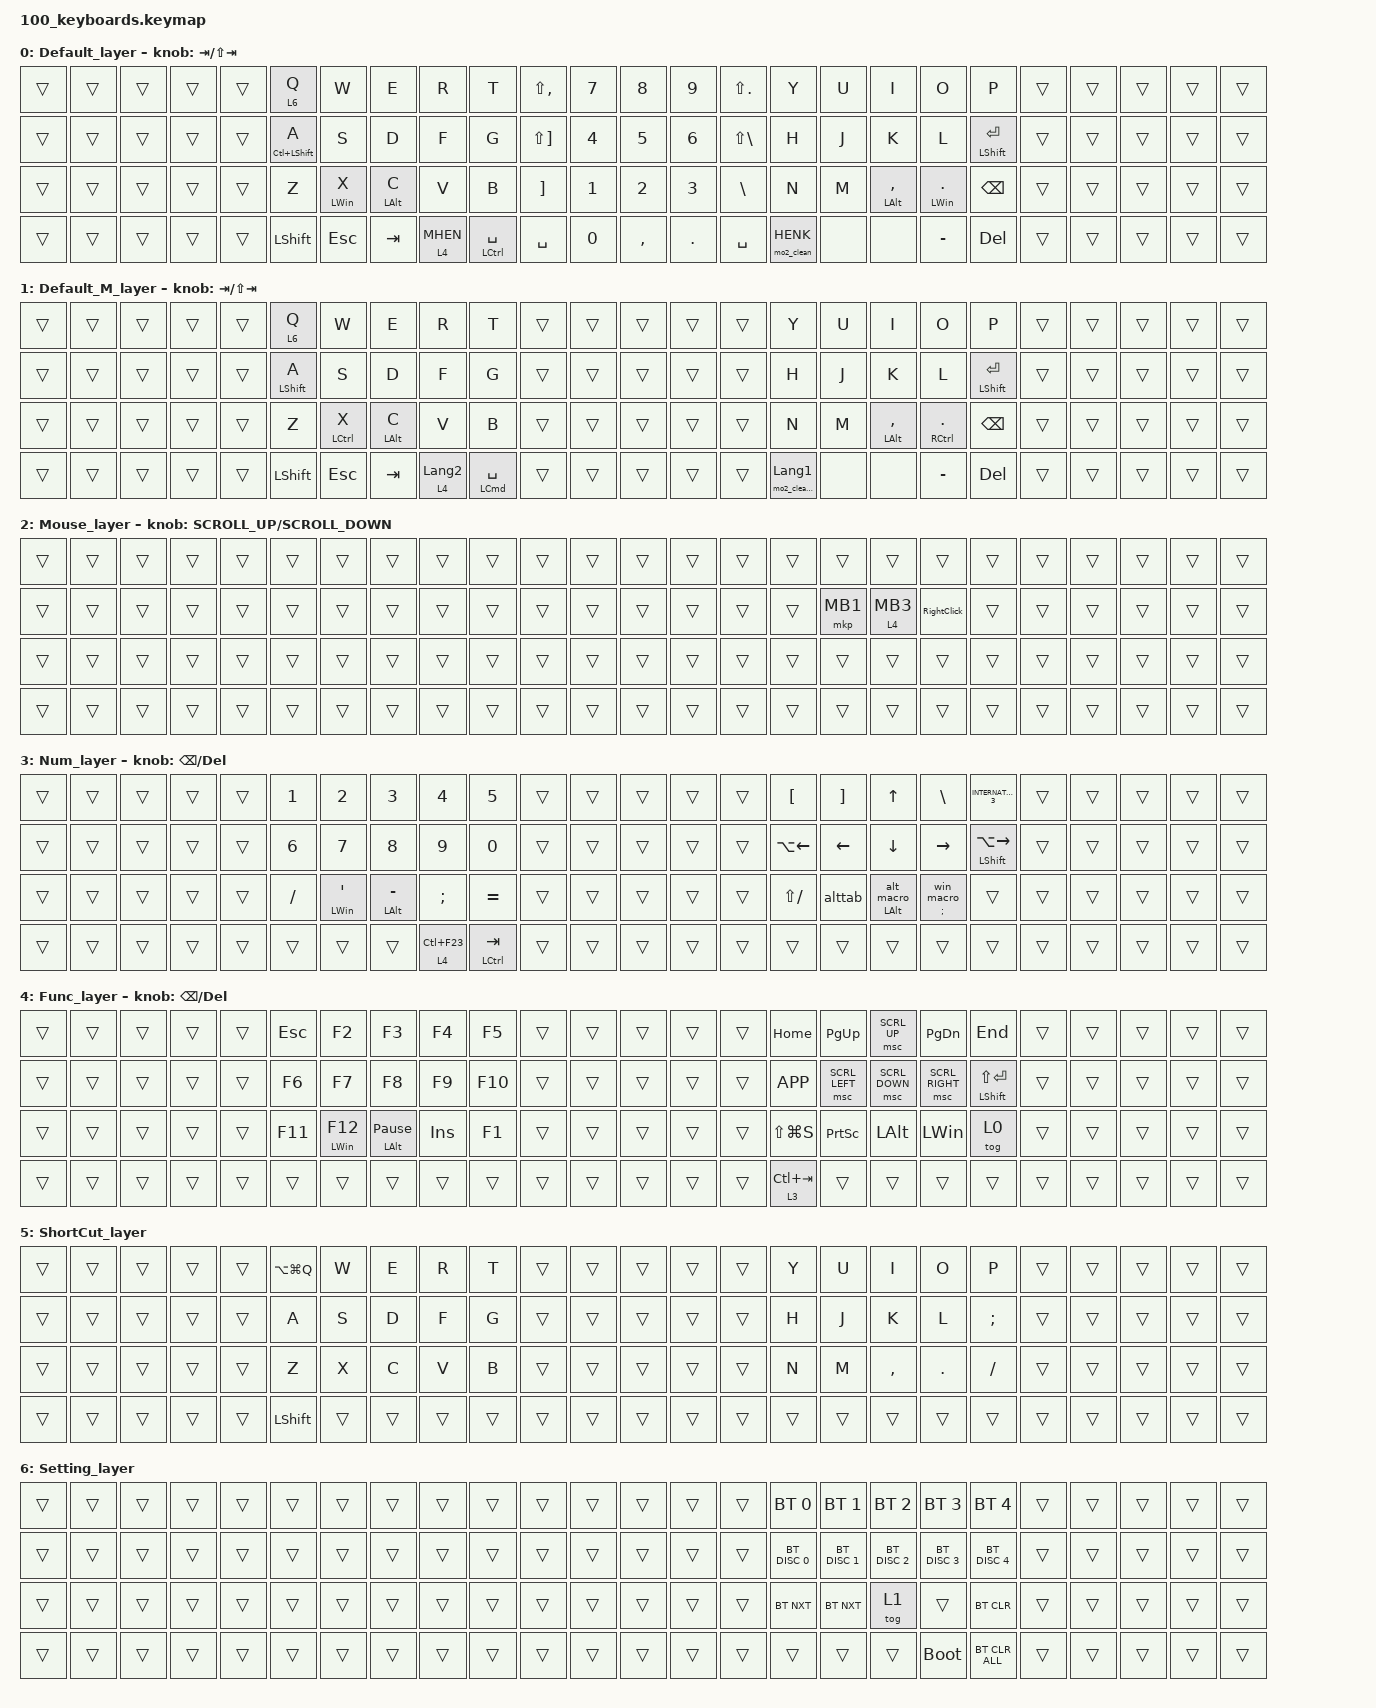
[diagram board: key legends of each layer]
#include <dt-bindings/zmk/input_transform.h>
#include <input/processors.dtsi> /* ★ これがすべての魔法の鍵でした！！！ */
#include <behaviors.dtsi>
#include <dt-bindings/zmk/bt.h>
#include <dt-bindings/zmk/keys.h>
#include <dt-bindings/zmk/pointing.h>

// マウス移動中のオートレイヤー（Jなどの入力を防ぐ）

&zip_temp_layer {
    excluded-positions = <
        41 // J:Lbutton (Central 16列目)
        42 // K:Mbutton - Scroll Layer (Central 17列目)
        43 // L:Rbutton (Central 18列目)
        44 // Enter (Central 19列目)
        80 // Shift (Peri_2 5列目)
        84 // Space-Lctrl (Peri_2 9列目)
    >;

    require-prior-idle-ms = <200>;
};

&mkp_input_listener { input-processors = <&zip_temp_layer 2 100000>; };

&trackball_listener {
    input-processors = <
        &zip_xy_transform (INPUT_TRANSFORM_X_INVERT | INPUT_TRANSFORM_Y_INVERT)
        &zip_temp_layer 2 100000
    >;

    scroller {
        layers = <4>;
        input-processors = <
            &zip_xy_transform (INPUT_TRANSFORM_X_INVERT)
            &zip_xy_to_scroll_mapper
            &zip_scroll_scaler 1 4
        >;
    };
};

/ {
    conditional_layers {
        compatible = "zmk,conditional-layers";

        FunctionWin {
            if-layers = <3 4>;
            then-layer = <5>;
        };
    };

    macros {
        kp_exitAML: kp_exit_AML {
            compatible = "zmk,behavior-macro-one-param";
            wait-ms = <0>;
            tap-ms = <0>;
            #binding-cells = <1>;
            bindings = <&macro_param_1to1 &kp MACRO_PLACEHOLDER &tog_off 0>;
        };

        mo2_clean: mo2_clean {
            compatible = "zmk,behavior-macro";
            #binding-cells = <0>;
            bindings =
                <&macro_press>,
                <&mo 3>,
                <&macro_pause_for_release>,
                <&macro_release>,
                <&mo 3 &kp LWIN &kp LALT>,
                <&macro_tap>,
                <&to 0>;
        };

        alttab: alttab {
            compatible = "zmk,behavior-macro";
            #binding-cells = <0>;
            bindings =
                <&macro_release>,
                <&kp LWIN>,
                <&macro_press>,
                <&kp LALT>,
                <&macro_tap>,
                <&kp TAB>;
        };

        win_macro: win_macro {
            compatible = "zmk,behavior-macro";
            #binding-cells = <0>;
            bindings = <&macro_release>, <&kp LALT>, <&macro_press>, <&kp LWIN>;
        };

        alt_macro: alt_macro {
            compatible = "zmk,behavior-macro";
            #binding-cells = <0>;
            bindings = <&macro_release>, <&kp LWIN>, <&macro_press>, <&kp LALT>;
        };

        mo2_clean_m: mo2_clean_m {
            compatible = "zmk,behavior-macro";
            #binding-cells = <0>;
            bindings =
                <&macro_press>,
                <&mo 3>,
                <&macro_pause_for_release>,
                <&macro_release>,
                <&mo 3 &kp LWIN &kp LALT>,
                <&macro_tap>,
                <&to 0>;
        };

        MHEN: MHEN {
            compatible = "zmk,behavior-macro";
            #binding-cells = <0>;
            bindings = <&kp LANGUAGE_2 &kp INT_MUHENKAN>;
            label = "MHEN";
        };

        HENK: HENK {
            compatible = "zmk,behavior-macro";
            #binding-cells = <0>;
            bindings = <&kp LANGUAGE_1 &kp INT_HENKAN>;
            label = "HENK";
        };
    };

    behaviors {
        lm: lt_with_mouse {
            compatible = "zmk,behavior-hold-tap";
            label = "LAYER_TAP_MOUSE";
            bindings = <&mo>, <&mkp>;

            #binding-cells = <2>;
            tapping-term-ms = <200>;
        };

        hm: homerow_mod {
            compatible = "zmk,behavior-hold-tap";
            label = "HM";
            bindings = <&kp>, <&kp>;

            #binding-cells = <2>;
            tapping-term-ms = <200>;
            quick-tap-ms = <200>;
            flavor = "tap-preferred";
            require-prior-idle-ms = <150>;
        };

        mt_exit_AML_on_tap: mt_exit_AML_on_tap {
            compatible = "zmk,behavior-hold-tap";
            label = "MT_exit_AML_ON_TAP";
            bindings = <&kp>, <&kp_exitAML>;

            #binding-cells = <2>;
            tapping-term-ms = <200>;
            flavor = "balanced";
            quick-tap-ms = <200>;
        };

        lt_clean: lt_clean {
            compatible = "zmk,behavior-hold-tap";
            label = "LT_CLEAN";
            bindings = <&mo2_clean>, <&kp>;

            #binding-cells = <2>;
            tapping-term-ms = <200>;
            flavor = "tap-preferred";
        };

        lt_clean_m: lt_clean_m {
            compatible = "zmk,behavior-hold-tap";
            label = "LT_CLEAN_M";
            bindings = <&mo2_clean_m>, <&kp>;

            #binding-cells = <2>;
            tapping-term-ms = <200>;
            flavor = "tap-preferred";
        };

        RightClick: Right_Click {
            compatible = "zmk,behavior-mod-morph";
            label = "RIGHTCLICK";
            bindings = <&mkp MB2>, <&none>;

            #binding-cells = <0>;
            mods = <(MOD_LCTL|MOD_LSFT)>;
            keep-mods = <(MOD_LCTL|MOD_LSFT)>;
        };

        Mwin: M_win {
            compatible = "zmk,behavior-hold-tap";
            label = "MWIN";
            bindings = <&kp>, <&win_macro>;

            #binding-cells = <2>;
            tapping-term-ms = <200>;
        };

        Malt: M_alt {
            compatible = "zmk,behavior-hold-tap";
            label = "MALT";
            bindings = <&kp>, <&alt_macro>;

            #binding-cells = <2>;
            tapping-term-ms = <200>;
        };

        tog_off: toggle_layer_off_only {
            compatible = "zmk,behavior-toggle-layer";
            #binding-cells = <1>;
            display-name = "Toggle Layer Off";
            toggle-mode = "off";
        };

        MHEN_LT: MHEN_LT {
            compatible = "zmk,behavior-hold-tap";
            label = "MHEN_LT";
            bindings = <&mo>, <&MHEN>;

            #binding-cells = <2>;
            tapping-term-ms = <200>;
        };

        HENK_LT: HENK_LT {
            compatible = "zmk,behavior-hold-tap";
            label = "HENK_LT";
            bindings = <&mo2_clean>, <&HENK>;

            #binding-cells = <2>;
            tapping-term-ms = <200>;
        };
    };

    keymap {
        compatible = "zmk,keymap";

        Default_layer {
            bindings = <
&trans  &trans  &trans  &trans  &trans  &lt 6 Q           &kp W           &kp E           &kp R         &kp T            &kp LS(COMMA)  &kp N7  &kp N8     &kp N9   &kp LS(DOT)    &kp Y         &kp U  &kp I           &kp O                &kp P                             &trans  &trans  &trans  &trans  &trans
&trans  &trans  &trans  &trans  &trans  &hm LC(LSHIFT) A  &kp S           &kp D           &kp F         &kp G            &kp LS(RBKT)   &kp N4  &kp N5     &kp N6   &kp LS(BSLH)   &kp H         &kp J  &kp K           &kp L                &mt_exit_AML_on_tap LSHIFT ENTER  &trans  &trans  &trans  &trans  &trans
&trans  &trans  &trans  &trans  &trans  &kp Z             &hm LEFT_WIN X  &hm LEFT_ALT C  &kp V         &kp B            &kp RBKT       &kp N1  &kp N2     &kp N3   &kp BACKSLASH  &kp N         &kp M  &hm LALT COMMA  &hm LEFT_WIN PERIOD  &kp BACKSPACE                     &trans  &trans  &trans  &trans  &trans
&trans  &trans  &trans  &trans  &trans  &kp LSHFT         &kp ESCAPE      &kp TAB         &MHEN_LT 4 0  &mt LCTRL SPACE  &kp SPACE      &kp N0  &kp COMMA  &kp DOT  &kp SPACE      &HENK_LT 0 0  &none  &none           &kp MINUS            &kp DELETE                        &trans  &trans  &trans  &trans  &trans
            >;

            sensor-bindings = <&inc_dec_kp TAB LS(TAB)>;
        };

        Default_M_layer {
            bindings = <
&trans  &trans  &trans  &trans  &trans  &lt 6 Q       &kp W        &kp E           &kp R             &kp T                   &trans  &trans  &trans  &trans  &trans  &kp Y                     &kp U  &kp I           &kp O             &kp P                             &trans  &trans  &trans  &trans  &trans
&trans  &trans  &trans  &trans  &trans  &hm LSHIFT A  &kp S        &kp D           &kp F             &kp G                   &trans  &trans  &trans  &trans  &trans  &kp H                     &kp J  &kp K           &kp L             &mt_exit_AML_on_tap LSHIFT ENTER  &trans  &trans  &trans  &trans  &trans
&trans  &trans  &trans  &trans  &trans  &kp Z         &hm LCTRL X  &hm LEFT_ALT C  &kp V             &kp B                   &trans  &trans  &trans  &trans  &trans  &kp N                     &kp M  &hm LALT COMMA  &hm RCTRL PERIOD  &kp BACKSPACE                     &trans  &trans  &trans  &trans  &trans
&trans  &trans  &trans  &trans  &trans  &kp LSHFT     &kp ESCAPE   &kp TAB         &lt 4 LANGUAGE_2  &mt LEFT_COMMAND SPACE  &trans  &trans  &trans  &trans  &trans  &lt_clean_m 0 LANGUAGE_1  &none  &none           &kp MINUS         &kp DELETE                        &trans  &trans  &trans  &trans  &trans
            >;

            sensor-bindings = <&inc_dec_kp TAB LS(TAB)>;
        };

        Mouse_layer {
            bindings = <
&trans  &trans  &trans  &trans  &trans  &trans  &trans  &trans  &trans  &trans  &trans  &trans  &trans  &trans  &trans  &trans  &trans    &trans     &trans       &trans  &trans  &trans  &trans  &trans  &trans
&trans  &trans  &trans  &trans  &trans  &trans  &trans  &trans  &trans  &trans  &trans  &trans  &trans  &trans  &trans  &trans  &mkp MB1  &lm 4 MB3  &RightClick  &trans  &trans  &trans  &trans  &trans  &trans
&trans  &trans  &trans  &trans  &trans  &trans  &trans  &trans  &trans  &trans  &trans  &trans  &trans  &trans  &trans  &trans  &trans    &trans     &trans       &trans  &trans  &trans  &trans  &trans  &trans
&trans  &trans  &trans  &trans  &trans  &trans  &trans  &trans  &trans  &trans  &trans  &trans  &trans  &trans  &trans  &trans  &trans    &trans     &trans       &trans  &trans  &trans  &trans  &trans  &trans
            >;

            sensor-bindings = <&inc_dec_kp K_SCROLL_UP K_SCROLL_DOWN>;
        };

        Num_layer {
            bindings = <
&trans  &trans  &trans  &trans  &trans  &kp N1    &kp N2                     &kp N3          &kp N4         &kp N5         &trans  &trans  &trans  &trans  &trans  &kp LBKT            &kp RBKT  &kp UP        &kp BACKSLASH  &kp INTERNATIONAL_3       &trans  &trans  &trans  &trans  &trans
&trans  &trans  &trans  &trans  &trans  &kp N6    &kp N7                     &kp N8          &kp N9         &kp N0         &trans  &trans  &trans  &trans  &trans  &kp LA(LEFT_ARROW)  &kp LEFT  &kp DOWN      &kp RIGHT      &mt LEFT_SHIFT LA(RIGHT)  &trans  &trans  &trans  &trans  &trans
&trans  &trans  &trans  &trans  &trans  &kp FSLH  &hm LEFT_WIN SINGLE_QUOTE  &hm LALT MINUS  &kp SEMI       &kp EQUAL      &trans  &trans  &trans  &trans  &trans  &kp LS(SLASH)       &alttab   &Malt LALT 0  &Mwin SEMI 0   &trans                    &trans  &trans  &trans  &trans  &trans
&trans  &trans  &trans  &trans  &trans  &trans    &trans                     &trans          &lt 4 LC(F23)  &mt LCTRL TAB  &trans  &trans  &trans  &trans  &trans  &trans              &trans    &trans        &trans         &trans                    &trans  &trans  &trans  &trans  &trans
            >;

            sensor-bindings = <&inc_dec_kp BACKSPACE DELETE>;
        };

        Func_layer {
            bindings = <
&trans  &trans  &trans  &trans  &trans  &kp ESCAPE  &kp F2            &kp F3                    &kp F4   &kp F5   &trans  &trans  &trans  &trans  &trans  &kp HOME       &kp PG_UP        &msc SCRL_UP    &kp PAGE_DOWN    &kp END              &trans  &trans  &trans  &trans  &trans
&trans  &trans  &trans  &trans  &trans  &kp F6      &kp F7            &kp F8                    &kp F9   &kp F10  &trans  &trans  &trans  &trans  &trans  &kp K_APP      &msc SCRL_LEFT   &msc SCRL_DOWN  &msc SCRL_RIGHT  &mt LSHFT LS(ENTER)  &trans  &trans  &trans  &trans  &trans
&trans  &trans  &trans  &trans  &trans  &kp F11     &hm LEFT_WIN F12  &hm LEFT_ALT PAUSE_BREAK  &kp INS  &kp F1   &trans  &trans  &trans  &trans  &trans  &kp LS(LG(S))  &kp PRINTSCREEN  &kp LALT        &kp LWIN         &tog 0               &trans  &trans  &trans  &trans  &trans
&trans  &trans  &trans  &trans  &trans  &trans      &trans            &trans                    &trans   &trans   &trans  &trans  &trans  &trans  &trans  &lt 3 LC(TAB)  &trans           &trans          &trans           &trans               &trans  &trans  &trans  &trans  &trans
            >;

            sensor-bindings = <&inc_dec_kp BACKSPACE DELETE>;
        };

        ShortCut_layer {
            bindings = <
&trans  &trans  &trans  &trans  &trans  &kp LA(LG(Q))  &kp W   &kp E   &kp R   &kp T   &trans  &trans  &trans  &trans  &trans  &kp Y   &kp U   &kp I      &kp O    &kp P     &trans  &trans  &trans  &trans  &trans
&trans  &trans  &trans  &trans  &trans  &kp A          &kp S   &kp D   &kp F   &kp G   &trans  &trans  &trans  &trans  &trans  &kp H   &kp J   &kp K      &kp L    &kp SEMI  &trans  &trans  &trans  &trans  &trans
&trans  &trans  &trans  &trans  &trans  &kp Z          &kp X   &kp C   &kp V   &kp B   &trans  &trans  &trans  &trans  &trans  &kp N   &kp M   &kp COMMA  &kp DOT  &kp FSLH  &trans  &trans  &trans  &trans  &trans
&trans  &trans  &trans  &trans  &trans  &kp LSHFT      &trans  &trans  &trans  &trans  &trans  &trans  &trans  &trans  &trans  &trans  &trans  &trans     &trans   &trans    &trans  &trans  &trans  &trans  &trans
            >;
        };

        Setting_layer {
            bindings = <
&trans  &trans  &trans  &trans  &trans  &trans  &trans  &trans  &trans  &trans  &trans  &trans  &trans  &trans  &trans  &bt BT_SEL 0   &bt BT_SEL 1   &bt BT_SEL 2   &bt BT_SEL 3   &bt BT_SEL 4    &trans  &trans  &trans  &trans  &trans
&trans  &trans  &trans  &trans  &trans  &trans  &trans  &trans  &trans  &trans  &trans  &trans  &trans  &trans  &trans  &bt BT_DISC 0  &bt BT_DISC 1  &bt BT_DISC 2  &bt BT_DISC 3  &bt BT_DISC 4   &trans  &trans  &trans  &trans  &trans
&trans  &trans  &trans  &trans  &trans  &trans  &trans  &trans  &trans  &trans  &trans  &trans  &trans  &trans  &trans  &bt BT_NXT     &bt BT_NXT     &tog 1         &trans         &bt BT_CLR      &trans  &trans  &trans  &trans  &trans
&trans  &trans  &trans  &trans  &trans  &trans  &trans  &trans  &trans  &trans  &trans  &trans  &trans  &trans  &trans  &trans         &trans         &trans         &bootloader    &bt BT_CLR_ALL  &trans  &trans  &trans  &trans  &trans
            >;
        };
    };
};
